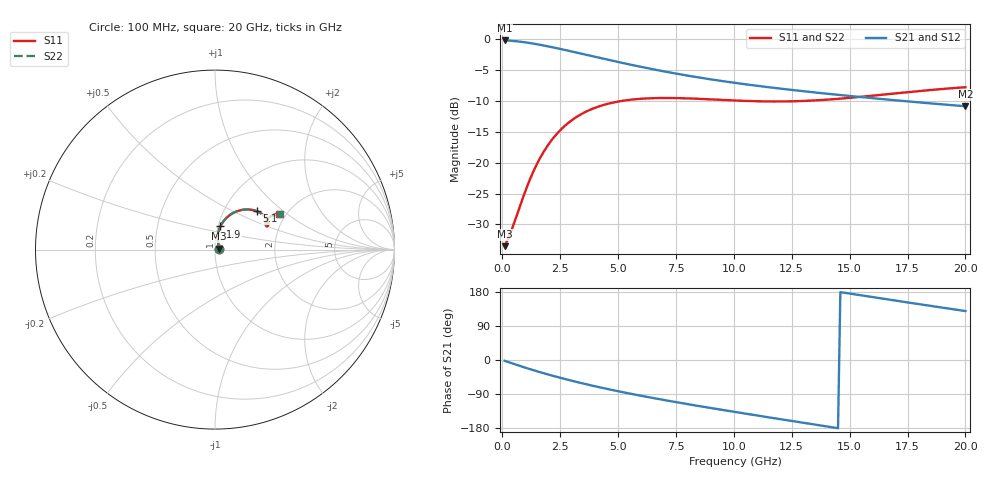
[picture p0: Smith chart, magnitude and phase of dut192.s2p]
! Touchstone file exported from HFSS 2023.1.0
!  File:  D:/Users/fzz/RDL_TSV/temp_RDL_TSV_192_1778755728.aedt
!  Generated:  6:59:38 %x4E0B%x5348  5%x6708 14, 2026
!  Design:  RDL_TSV
!  Project:  temp_RDL_TSV_192_1778755728
!  Setup:  Setup1
!  Solution:  Sweep
! Variables:
!  dtsv = 13.38um
!  hbump = 3um
!  htsv = 60.42um
!  ldown = 680.86um
!  lrdl = 347.72um
!  p = 40
!  p1 = 57.18um
!  rhole = 10um
!  subl = 3433.46um
!  t = 450um
!  tdown = 4.44um
!  trdl = 3.05um
!  viad = 10um
!  wdown = 20.19um
!  wrdl = 13.15um
!  xbump = 18um
# GHz S MA R 50.000000
! Terminal data exported
! Port[1] = TM1_1_T1
! Port[2] = TM1_4_T1
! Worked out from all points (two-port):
!   200 points, 100 MHz to 20 GHz, reference 50 ohm
!   highest |S21| = -0.18 dB at 100 MHz (marker M1); lowest = -10.8 dB at 20 GHz (marker M2)
!   |S21| within 3 dB of the highest: start of sweep to 4.418 GHz
!   lowest |S11| = -33.5 dB at 100 MHz (marker M3), VSWR 1.04, Z = 52.1 + j0.564 ohm
!   |S11| at or under -10 dB: start of sweep to 5.137 GHz; 10.64 GHz to 12.93 GHz (2.294 GHz wide, 19.5 % of centre)
!   |S22| runs from -33.5 to -7.7 dB; largest |S21 - S12| = 1.3e-14
!   S11 on the Smith chart (normalised r, x): 100 MHz: 1.04, +0.01; 1.9 GHz: 1.03, +0.27; 5.1 GHz: 1.42, +0.67; 20 GHz: 1.85, +0.87
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0.1  0.02106 14.9  0.9792 -2.1  0.9792 -2.1  0.02106 14.9
! Gamma 0 0 0 0
! Port Impedance 50 0 50 0
0.3  0.02551 36.8  0.9752 -6.3  0.9752 -6.3  0.02551 36.8
0.6  0.03618 59.3  0.9649 -12.4  0.9649 -12.4  0.03618 59.3
1.2  0.07362 77.5  0.9326 -24.2  0.9326 -24.2  0.07364 77.5
1.5  0.09784 78.8  0.9122 -29.7  0.9122 -29.7  0.09788 78.8
1.9  0.1324 76.9  0.8828 -36.8  0.8828 -36.8  0.1324 76.9
2.2  0.1583 74.1  0.8597 -42.0  0.8597 -42.0  0.1584 74.2
2.6  0.1912 69.6  0.8284 -48.5  0.8284 -48.5  0.1913 69.7
3  0.2209 64.8  0.7971 -54.8  0.7971 -54.8  0.2211 64.8
3.5  0.2528 58.8  0.759 -62.2  0.759 -62.2  0.253 58.9
4.2  0.2871 51.1  0.7082 -72.0  0.7082 -72.0  0.2874 51.2
5.1  0.3154 42.8  0.6491 -83.7  0.6491 -83.7  0.3158 42.8
5.9  0.3288 36.8  0.6029 -93.3  0.6029 -93.3  0.3293 36.8
6.8  0.3344 31.5  0.558 -103.5  0.558 -103.5  0.335 31.6
8.4  0.33 25.8  0.4937 -120.5  0.4937 -120.5  0.3307 25.8
10.1  0.319 23.9  0.4423 -137.6  0.4423 -137.6  0.3198 23.9
11.7  0.3135 25.0  0.4049 -153.2  0.4049 -153.2  0.3143 25.0
13.4  0.3191 27.7  0.3727 -169.5  0.3727 -169.5  0.3199 27.7
15  0.3354 29.9  0.3474 175.3  0.3474 175.3  0.3362 29.9
16.7  0.3603 30.9  0.324 159.4  0.324 159.4  0.3611 30.8
18.4  0.387 30.3  0.3036 143.7  0.3036 143.7  0.3877 30.2
20  0.4091 28.7  0.2869 129.1  0.2869 129.1  0.4098 28.7
